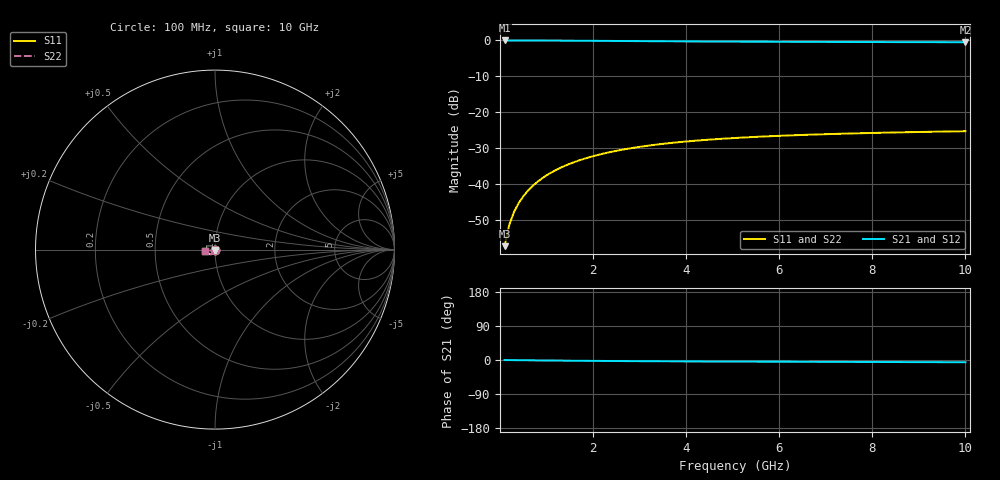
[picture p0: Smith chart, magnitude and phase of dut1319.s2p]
! Touchstone file exported from HFSS 2024.1.0
!  File:  C:/UserFiles/LocalFiles/RDL_TSV_Batchsim/temp_TSV1_1319_1780374157.aedt
!  Generated:  12:28:06 PM Jun  2, 2026
!  Design:  TSV1
!  Project:  temp_TSV1_1319_1780374157
!  Setup:  Setup1
!  Solution:  Sweep
! Variables:
!  dtsv = 8.97um
!  hbump = 3um
!  htsv = 95.57um
!  lrdl = 252.1521522um
!  p = 40
!  p1 = 40.82um
!  t = 500um
!  trdl = 3um
!  wrdl = 24.89489489um
# GHz S MA R 50.000000
! Terminal data exported
! Port[1] = TSV22_T1
! Port[2] = TSV22_T2
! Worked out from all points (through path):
!   100 points, 100 MHz to 10 GHz, reference 50 ohm
!   highest |S21| = 0.00 dB at 100 MHz (marker M1); lowest = -0.5 dB at 10 GHz (marker M2)
!   lowest |S11| = -57.4 dB at 100 MHz (marker M3), VSWR 1.00, Z = 50 - j0.134 ohm
!   |S11| at or under -10 dB: start of sweep to end of sweep
!   |S22| runs from -57.4 to -25.3 dB; largest |S21 - S12| = 3.5e-15
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0.1  0.001352 -82.8  0.9998 -0.1  0.9998 -0.1  0.001352 -82.8
! Gamma 0 0 0 0
! Port Impedance 50 0 50 0
0.2  0.002686 -88.4  0.9996 -0.3  0.9996 -0.3  0.002686 -88.4
0.3  0.004026 -91.3  0.9994 -0.4  0.9994 -0.4  0.004026 -91.3
0.4  0.005364 -93.6  0.9992 -0.5  0.9992 -0.5  0.005364 -93.6
0.5  0.006694 -95.5  0.9988 -0.7  0.9988 -0.7  0.006694 -95.5
0.6  0.008014 -97.4  0.9984 -0.8  0.9984 -0.8  0.008014 -97.4
0.7  0.009319 -99.1  0.998 -0.9  0.998 -0.9  0.009319 -99.1
0.8  0.01061 -100.8  0.9975 -1.0  0.9975 -1.0  0.01061 -100.8
0.9  0.01188 -102.4  0.9969 -1.2  0.9969 -1.2  0.01188 -102.4
1.1  0.01436 -105.5  0.9956 -1.4  0.9956 -1.4  0.01436 -105.5
1.4  0.01791 -109.9  0.9934 -1.7  0.9934 -1.7  0.01791 -109.9
1.6  0.02016 -112.7  0.9917 -1.9  0.9917 -1.9  0.02016 -112.7
1.8  0.02229 -115.4  0.99 -2.1  0.99 -2.1  0.02229 -115.4
2.1  0.02528 -119.3  0.9872 -2.4  0.9872 -2.4  0.02528 -119.3
2.5  0.02889 -124.1  0.9834 -2.7  0.9834 -2.7  0.02889 -124.1
2.9  0.03207 -128.5  0.9797 -3.0  0.9797 -3.0  0.03207 -128.5
3.4  0.03551 -133.5  0.9753 -3.3  0.9753 -3.3  0.03551 -133.5
4.2  0.03998 -140.5  0.9689 -3.8  0.9689 -3.8  0.03998 -140.5
5.1  0.04382 -147.1  0.9629 -4.2  0.9629 -4.2  0.04382 -147.1
6.7  0.04859 -156.6  0.9548 -4.8  0.9548 -4.8  0.04859 -156.6
8.4  0.05196 -164.6  0.9489 -5.4  0.9489 -5.4  0.05197 -164.6
10  0.05424 -170.8  0.945 -5.9  0.945 -5.9  0.05424 -170.8
